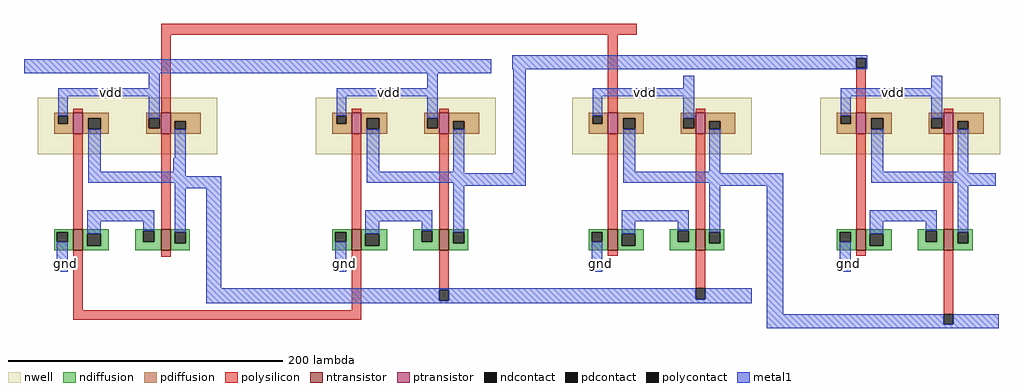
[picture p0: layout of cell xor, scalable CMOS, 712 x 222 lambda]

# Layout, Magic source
magic
tech scmos
<< nwell >>
rect 10 127 141 168
rect 213 127 344 168
rect 400 127 531 168
rect 581 127 712 168
<< ntransistor >>
rect 36 57 43 72
rect 100 57 107 72
rect 239 57 246 72
rect 303 57 310 72
rect 426 57 433 72
rect 490 57 497 72
rect 607 57 614 72
rect 671 57 678 72
<< ptransistor >>
rect 36 142 43 157
rect 100 142 107 157
rect 239 142 246 157
rect 303 142 310 157
rect 426 142 433 157
rect 490 142 497 157
rect 607 142 614 157
rect 671 142 678 157
<< ndiffusion >>
rect 22 70 36 72
rect 22 63 24 70
rect 32 63 36 70
rect 22 57 36 63
rect 43 69 62 72
rect 43 60 46 69
rect 56 60 62 69
rect 43 57 62 60
rect 81 71 100 72
rect 81 63 87 71
rect 95 63 100 71
rect 81 57 100 63
rect 107 70 121 72
rect 107 62 110 70
rect 118 62 121 70
rect 107 57 121 62
rect 225 70 239 72
rect 225 63 227 70
rect 235 63 239 70
rect 225 57 239 63
rect 246 69 265 72
rect 246 60 249 69
rect 259 60 265 69
rect 246 57 265 60
rect 284 71 303 72
rect 284 63 290 71
rect 298 63 303 71
rect 284 57 303 63
rect 310 70 324 72
rect 310 62 313 70
rect 321 62 324 70
rect 310 57 324 62
rect 412 70 426 72
rect 412 63 414 70
rect 422 63 426 70
rect 412 57 426 63
rect 433 69 452 72
rect 433 60 436 69
rect 446 60 452 69
rect 433 57 452 60
rect 471 71 490 72
rect 471 63 477 71
rect 485 63 490 71
rect 471 57 490 63
rect 497 70 511 72
rect 497 62 500 70
rect 508 62 511 70
rect 497 57 511 62
rect 593 70 607 72
rect 593 63 595 70
rect 603 63 607 70
rect 593 57 607 63
rect 614 69 633 72
rect 614 60 617 69
rect 627 60 633 69
rect 614 57 633 60
rect 652 71 671 72
rect 652 63 658 71
rect 666 63 671 71
rect 652 57 671 63
rect 678 70 692 72
rect 678 62 681 70
rect 689 62 692 70
rect 678 57 692 62
<< pdiffusion >>
rect 22 155 36 157
rect 22 149 25 155
rect 32 149 36 155
rect 22 142 36 149
rect 43 153 62 157
rect 43 145 47 153
rect 56 145 62 153
rect 43 142 62 145
rect 89 153 100 157
rect 89 146 91 153
rect 99 146 100 153
rect 89 142 100 146
rect 107 151 129 157
rect 107 145 110 151
rect 118 145 129 151
rect 107 142 129 145
rect 225 155 239 157
rect 225 149 228 155
rect 235 149 239 155
rect 225 142 239 149
rect 246 153 265 157
rect 246 145 250 153
rect 259 145 265 153
rect 246 142 265 145
rect 292 153 303 157
rect 292 146 294 153
rect 302 146 303 153
rect 292 142 303 146
rect 310 151 332 157
rect 310 145 313 151
rect 321 145 332 151
rect 310 142 332 145
rect 412 155 426 157
rect 412 149 415 155
rect 422 149 426 155
rect 412 142 426 149
rect 433 153 452 157
rect 433 145 437 153
rect 446 145 452 153
rect 433 142 452 145
rect 479 153 490 157
rect 479 146 481 153
rect 489 146 490 153
rect 479 142 490 146
rect 497 151 519 157
rect 497 145 500 151
rect 508 145 519 151
rect 497 142 519 145
rect 593 155 607 157
rect 593 149 596 155
rect 603 149 607 155
rect 593 142 607 149
rect 614 153 633 157
rect 614 145 618 153
rect 627 145 633 153
rect 614 142 633 145
rect 660 153 671 157
rect 660 146 662 153
rect 670 146 671 153
rect 660 142 671 146
rect 678 151 700 157
rect 678 145 681 151
rect 689 145 700 151
rect 678 142 700 145
<< ndcontact >>
rect 24 63 32 70
rect 46 60 56 69
rect 87 63 95 71
rect 110 62 118 70
rect 227 63 235 70
rect 249 60 259 69
rect 290 63 298 71
rect 313 62 321 70
rect 414 63 422 70
rect 436 60 446 69
rect 477 63 485 71
rect 500 62 508 70
rect 595 63 603 70
rect 617 60 627 69
rect 658 63 666 71
rect 681 62 689 70
<< pdcontact >>
rect 25 149 32 155
rect 47 145 56 153
rect 91 146 99 153
rect 110 145 118 151
rect 228 149 235 155
rect 250 145 259 153
rect 294 146 302 153
rect 313 145 321 151
rect 415 149 422 155
rect 437 145 446 153
rect 481 146 489 153
rect 500 145 508 151
rect 596 149 603 155
rect 618 145 627 153
rect 662 146 670 153
rect 681 145 689 151
<< polysilicon >>
rect 100 214 447 222
rect 36 157 43 160
rect 100 157 107 214
rect 239 157 246 160
rect 303 157 310 160
rect 426 157 433 214
rect 490 157 497 160
rect 607 157 614 190
rect 671 157 678 160
rect 36 72 43 142
rect 100 72 107 142
rect 239 72 246 142
rect 303 72 310 142
rect 426 72 433 142
rect 490 72 497 142
rect 607 72 614 142
rect 671 72 678 142
rect 36 13 43 57
rect 100 52 107 57
rect 239 13 246 57
rect 303 28 310 57
rect 426 53 433 57
rect 490 29 497 57
rect 607 53 614 57
rect 36 6 246 13
rect 671 10 678 57
<< polycontact >>
rect 607 190 614 197
rect 303 20 310 28
rect 490 21 497 29
rect 671 3 678 10
<< metal1 >>
rect 356 197 615 199
rect 0 186 341 196
rect 356 190 607 197
rect 614 190 615 197
rect 356 189 615 190
rect 91 175 99 186
rect 294 175 302 186
rect 25 169 99 175
rect 25 155 32 169
rect 91 153 99 169
rect 228 169 302 175
rect 228 155 235 169
rect 47 114 56 145
rect 294 153 302 169
rect 110 124 118 145
rect 109 114 118 124
rect 47 111 118 114
rect 250 114 259 145
rect 313 114 321 145
rect 250 113 321 114
rect 357 113 366 189
rect 481 175 489 184
rect 662 175 670 184
rect 415 169 489 175
rect 415 155 422 169
rect 481 153 489 169
rect 47 106 144 111
rect 250 106 366 113
rect 596 169 670 175
rect 596 155 603 169
rect 437 114 446 145
rect 662 153 670 169
rect 500 114 508 145
rect 437 113 508 114
rect 618 114 627 145
rect 681 114 689 145
rect 618 113 689 114
rect 437 106 554 113
rect 618 106 709 113
rect 110 102 144 106
rect 46 78 95 86
rect 24 41 32 63
rect 46 69 56 78
rect 87 71 95 78
rect 110 70 118 102
rect 133 29 144 102
rect 313 104 366 106
rect 500 104 554 106
rect 249 78 298 86
rect 227 41 235 63
rect 249 69 259 78
rect 290 71 298 78
rect 313 70 321 104
rect 436 78 485 86
rect 414 41 422 63
rect 436 69 446 78
rect 477 71 485 78
rect 500 70 508 104
rect 133 28 490 29
rect 133 20 303 28
rect 310 21 490 28
rect 497 21 531 29
rect 310 20 531 21
rect 133 18 531 20
rect 542 10 554 104
rect 681 104 709 106
rect 617 78 666 86
rect 595 41 603 63
rect 617 69 627 78
rect 658 71 666 78
rect 681 70 689 104
rect 542 3 671 10
rect 678 3 711 10
rect 542 0 711 3
<< labels >>
rlabel metal1 30 45 31 49 1 gnd
rlabel metal1 63 170 64 174 5 vdd
rlabel metal1 233 45 234 49 1 gnd
rlabel metal1 266 170 267 174 5 vdd
rlabel metal1 420 45 421 49 1 gnd
rlabel metal1 453 170 454 174 5 vdd
rlabel metal1 601 45 602 49 1 gnd
rlabel metal1 634 170 635 174 5 vdd
<< end >>
